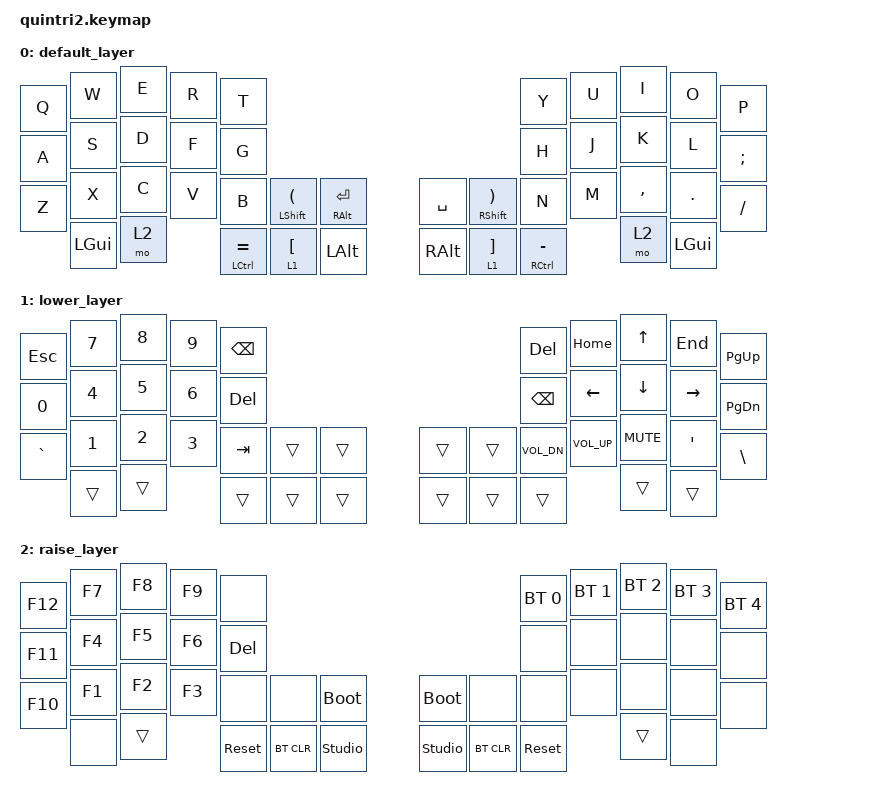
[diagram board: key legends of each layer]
/*
 * Copyright (c) 2020 The ZMK Contributors
 *
 * SPDX-License-Identifier: MIT
 */

#include <behaviors.dtsi>
#include <dt-bindings/zmk/keys.h>
#include <dt-bindings/zmk/bt.h>
#include <dt-bindings/zmk/pointing.h>

#define DEFAULT 0
#define LWR 1
#define RSE 2

// --------------------------                      --------------------------
// |  0 |  1 |  2 |  3 |  4 |                      |  5 |  6 |  7 |  8 |  9 |
// | 10 | 11 | 12 | 13 | 14 |                      | 15 | 16 | 17 | 18 | 19 |
// | 20 | 21 | 22 | 23 | 24 | 25 | 26 |  | 27 | 28 | 29 | 30 | 31 | 32 | 33 |
//      | 34 | 35 |    | 36 | 37 | 38 |  | 39 | 40 | 41 |    | 42 | 43 |
//      -----------    ----------------  ----------------    -----------

/ {
    combos {
        compatible = "zmk,combos";

        esc {
            bindings = <&kp ESC>;
            key-positions = <0 1>;
        };

        space {
            bindings = <&kp SPACE>;
            key-positions = <11 12>;
        };

        tab {
            bindings = <&kp TAB>;
            key-positions = <10 11>;
        };

        enter {
            bindings = <&kp ENTER>;
            key-positions = <17 18>;
        };
    };

    keymap {
        compatible = "zmk,keymap";

        default_layer {
            bindings = <
&kp Q  &kp W     &kp E  &kp R  &kp T                                                                       &kp Y            &kp U  &kp I      &kp O    &kp P
&kp A  &kp S     &kp D  &kp F  &kp G                                                                       &kp H            &kp J  &kp K      &kp L    &kp SEMI
&kp Z  &kp X     &kp C  &kp V  &kp B            &mt LSHFT LPAR  &mt RALT RET    &kp SPACE  &mt RSHFT RPAR  &kp N            &kp M  &kp COMMA  &kp DOT  &kp FSLH
       &kp LGUI  &mo 2         &mt LCTRL EQUAL  &lt 1 LBKT      &kp LALT        &kp RALT   &lt 1 RBKT      &mt RCTRL MINUS  &mo 2  &kp LGUI
            >;
        };

        lower_layer {
            bindings = <
&kp ESC    &kp N7  &kp N8  &kp N9  &kp BSPC                                    &kp DEL       &kp HOME      &kp UP      &kp END    &kp PG_UP
&kp N0     &kp N4  &kp N5  &kp N6  &kp DEL                                     &kp BSPC      &kp LEFT      &kp DOWN    &kp RIGHT  &kp PG_DN
&kp GRAVE  &kp N1  &kp N2  &kp N3  &kp TAB   &trans  &trans    &trans  &trans  &kp C_VOL_DN  &kp C_VOL_UP  &kp C_MUTE  &kp SQT    &kp BSLH
           &trans  &trans          &trans    &trans  &trans    &trans  &trans  &trans                      &trans      &trans
            >;
        };

        raise_layer {
            bindings = <
&kp F12  &kp F7  &kp F8  &kp F9  &none                                                                  &bt BT_SEL 0  &bt BT_SEL 1  &bt BT_SEL 2  &bt BT_SEL 3  &bt BT_SEL 4
&kp F11  &kp F4  &kp F5  &kp F6  &kp DEL                                                                &none         &none         &none         &none         &none
&kp F10  &kp F1  &kp F2  &kp F3  &none       &none       &bootloader        &bootloader     &none       &none         &none         &none         &none         &none
         &none   &trans          &sys_reset  &bt BT_CLR  &studio_unlock     &studio_unlock  &bt BT_CLR  &sys_reset                  &trans        &none
            >;
        };
    };
};
